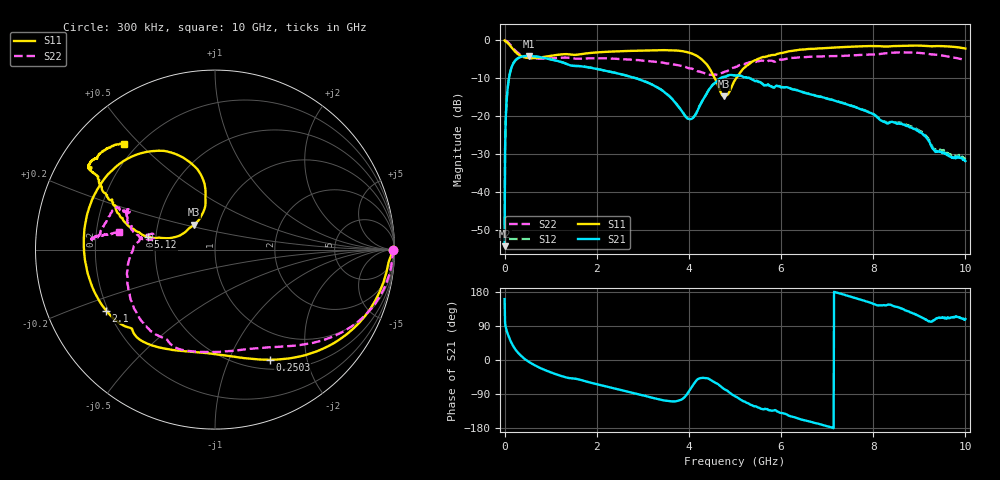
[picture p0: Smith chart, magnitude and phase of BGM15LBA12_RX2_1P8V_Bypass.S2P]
!Agilent Technologies,E5071C,MY46316587,B.13.01
!Date: Thu Dec 07 14:01:42 2017
!Data & Calibration Information:
!Freq	S11:SOLT2(ON)	S21:SOLT2(ON)	S12:SOLT2(ON)	S22:SOLT2(ON)
!PortZ  Port1:50+j0  Port2:50+j0
!Above PortZ is port z conversion or system Z0 setting when saving the data.
!When reading, reference impedance value at option line is always used.
# Hz S dB R 50
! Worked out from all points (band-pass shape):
!   1001 points, 300 kHz to 10 GHz, reference 50 ohm
!   highest |S21| = -4.17 dB at 530.3 MHz (marker M1); lowest = -54.4 dB at 300 kHz (marker M2)
!   |S21| within 3 dB of the highest: 151.6 MHz to 1.817 GHz (1.665 GHz wide, 169 % of centre)
!   lowest |S11| = -14.8 dB at 4.76 GHz (marker M3), VSWR 1.44, Z = 38.2 + j11 ohm
!   |S11| at or under -10 dB: 4.559 GHz to 5.028 GHz (469.5 MHz wide, 9.79 % of centre)
!   |S22| runs from -9.2 to -0.1 dB; largest |S21 - S12| = 0.0037
!   S11 on the Smith chart (normalised r, x): 300 kHz: open; 250.3 MHz: 0.62, -1.43; 2.1 GHz: 0.19, -0.25; 5.12 GHz: 0.45, +0.07; 10 GHz: 0.15, +0.45
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300000  -0.08 -0.2  -54.37 160.6  -52.23 107.6  -0.08 -0.0
6.02982e7  -0.66 -20.8  -13.47 71.8  -13.38 71.8  -0.41 -16.0
7.02979e7  -0.78 -23.9  -12.24 68.3  -12.18 68.3  -0.51 -18.5
1.402958e8  -1.78 -42.9  -7.59 47.5  -7.55 47.4  -1.47 -33.0
2.502925e8  -3.29 -63.7  -5.15 25.3  -5.13 25.2  -2.95 -48.3
5.302841e8  -4.73 -92.1  -4.17 -5.2  -4.16 -5.3  -4.65 -71.1
1.020269e9  -4.11 -118.4  -5.11 -33.5  -5.08 -33.5  -4.80 -97.9
1.67025e9  -3.67 -139.1  -6.91 -53.3  -6.86 -53.2  -4.87 -120.4
2.100237e9  -3.16 -150.7  -7.85 -66.8  -7.81 -66.5  -4.80 -130.7
3.3402e9  -2.63 165.6  -12.63 -103.5  -12.64 -103.1  -5.83 -162.5
4.030179e9  -3.39 127.5  -20.83 -77.3  -20.66 -77.3  -7.45 172.6
4.240173e9  -4.69 113.1  -17.20 -48.1  -17.16 -47.9  -8.33 167.5
4.460166e9  -7.73 100.1  -12.62 -51.7  -12.62 -51.8  -9.12 167.7
4.760157e9  -14.85 130.0  -9.69 -76.2  -9.70 -76.3  -8.40 171.4
5.00015e9  -10.52 167.6  -9.31 -95.6  -9.29 -95.5  -7.16 169.4
5.120146e9  -8.43 169.2  -9.41 -104.3  -9.38 -104.4  -6.51 166.9
5.580133e9  -4.56 158.2  -11.39 -129.1  -11.36 -129.4  -5.40 156.3
6.6701e9  -2.31 148.0  -14.40 -163.7  -14.31 -163.7  -4.37 157.7
8.34005e9  -1.65 147.2  -21.87 146.4  -21.75 146.4  -3.38 174.8
8.890033e9  -1.45 145.2  -23.42 121.8  -23.13 122.1  -3.28 174.6
9.34002e9  -1.58 142.0  -29.29 106.6  -28.92 107.0  -3.81 173.3
1e10  -2.22 130.8  -31.92 108.1  -31.47 107.5  -5.26 169.5
